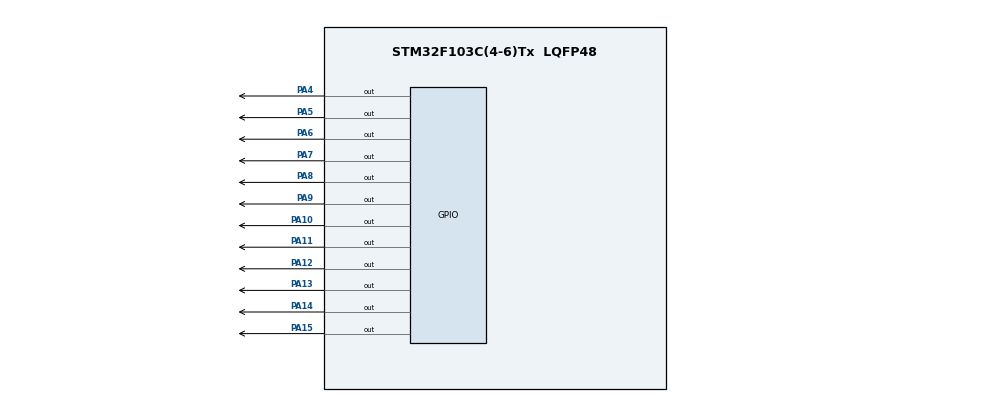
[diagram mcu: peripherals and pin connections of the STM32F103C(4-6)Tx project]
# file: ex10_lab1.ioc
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Mcu.Family=STM32F1
Mcu.Name=STM32F103C(4-6)Tx
Mcu.Package=LQFP48
NVIC.PriorityGroup=NVIC_PRIORITYGROUP_4
PA10.Signal=GPIO_Output
PA11.Signal=GPIO_Output
PA12.Signal=GPIO_Output
PA13.Signal=GPIO_Output
PA14.Signal=GPIO_Output
PA15.Signal=GPIO_Output
PA4.Signal=GPIO_Output
PA5.Signal=GPIO_Output
PA6.Signal=GPIO_Output
PA7.Signal=GPIO_Output
PA8.Signal=GPIO_Output
PA9.Signal=GPIO_Output
ProjectManager.HeapSize=0x200
ProjectManager.StackSize=0x400
ProjectManager.TargetToolchain=STM32CubeIDE
RCC.APB1Freq_Value=8000000
RCC.APB2Freq_Value=8000000
board=custom

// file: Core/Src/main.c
/* USER CODE BEGIN Header */
/**
  ******************************************************************************
  * @file           : main.c
  * @brief          : Main program body
  ******************************************************************************
  * @attention
  *
  * Copyright (c) 2025 STMicroelectronics.
  * All rights reserved.
  *
  * This software is licensed under terms that can be found in the LICENSE file
  * in the root directory of this software component.
  * If no LICENSE file comes with this software, it is provided AS-IS.
  *
  ******************************************************************************
  */
/* USER CODE END Header */
#include "main.h"

void SystemClock_Config(void);
static void MX_GPIO_Init(void);
/* USER CODE BEGIN PFP */
void clearAllClock();
void setNumberOnClock(int num);
void clearNumberOnClock(int num);
/* USER CODE END PFP */

/* USER CODE BEGIN 0 */
int sec = 0;
int min = 0;
int hour = 7;

int t_sec = 2;
int t_min = 10;
int sw_m = 0;
/* USER CODE END 0 */

int main(void)
{

  /* MCU Configuration--------------------------------------------------------*/

  /* Reset of all peripherals, Initializes the Flash interface and the Systick. */
  HAL_Init();

  /* Configure the system clock */
  SystemClock_Config();

  /* Initialize all configured peripherals */
  MX_GPIO_Init();

  /* Infinite loop */
  /* USER CODE BEGIN WHILE */
  while (1)
  {
	  if(sec >= 60){
		  sec = 0;
		  min++;
		  if(min >= 60){
			  min = 0;
			  clearNumberOnClock(hour);
			  hour++;
			  if(hour >= 11){
				  hour = 0;
			  }
		  }
	  }
	  if(t_sec <= 0){
		  sec++;
		  t_sec = 2;
	  }
	  if(sec % 5 == 0){
		  if(sec / 5 == 0) clearNumberOnClock(11);
		  else clearNumberOnClock(sec / 5 - 1);
		  setNumberOnClock(sec / 5);
	  }
	  setNumberOnClock(hour);

	  if(t_min <= 0){
		  switch(sw_m){
		  case 0:
			  setNumberOnClock(min / 5);
			  sw_m = 1;
			  break;
		  case 1:
			  clearNumberOnClock(min / 5);
			  sw_m = 0;
			  break;
		  }
		  t_min = 10;
	  }
	  t_min--;
	  t_sec--;

	  HAL_Delay(10);

    /* USER CODE END WHILE */

  }
}

void SystemClock_Config(void)
{
  RCC_OscInitTypeDef RCC_OscInitStruct = {0};
  RCC_ClkInitTypeDef RCC_ClkInitStruct = {0};

  /** Initializes the RCC Oscillators according to the specified parameters
  * in the RCC_OscInitTypeDef structure.
  */
  RCC_OscInitStruct.OscillatorType = RCC_OSCILLATORTYPE_HSI;
  RCC_OscInitStruct.HSIState = RCC_HSI_ON;
  RCC_OscInitStruct.HSICalibrationValue = RCC_HSICALIBRATION_DEFAULT;
  RCC_OscInitStruct.PLL.PLLState = RCC_PLL_NONE;
  if (HAL_RCC_OscConfig(&RCC_OscInitStruct) != HAL_OK)
  {
    Error_Handler();
  }

  /** Initializes the CPU, AHB and APB buses clocks
  */
  RCC_ClkInitStruct.ClockType = RCC_CLOCKTYPE_HCLK|RCC_CLOCKTYPE_SYSCLK
                              |RCC_CLOCKTYPE_PCLK1|RCC_CLOCKTYPE_PCLK2;
  RCC_ClkInitStruct.SYSCLKSource = RCC_SYSCLKSOURCE_HSI;
  RCC_ClkInitStruct.AHBCLKDivider = RCC_SYSCLK_DIV1;
  RCC_ClkInitStruct.APB1CLKDivider = RCC_HCLK_DIV1;
  RCC_ClkInitStruct.APB2CLKDivider = RCC_HCLK_DIV1;

  if (HAL_RCC_ClockConfig(&RCC_ClkInitStruct, FLASH_LATENCY_0) != HAL_OK)
  {
    Error_Handler();
  }
}

static void MX_GPIO_Init(void)
{
  GPIO_InitTypeDef GPIO_InitStruct = {0};

  /* GPIO Ports Clock Enable */
  __HAL_RCC_GPIOA_CLK_ENABLE();

  /*Configure GPIO pin Output Level */
  HAL_GPIO_WritePin(GPIOA, GPIO_PIN_4|GPIO_PIN_5|GPIO_PIN_6|GPIO_PIN_7
                          |GPIO_PIN_8|GPIO_PIN_9|GPIO_PIN_10|GPIO_PIN_11
                          |GPIO_PIN_12|GPIO_PIN_13|GPIO_PIN_14|GPIO_PIN_15, GPIO_PIN_RESET);

  /*Configure GPIO pins : PA4 PA5 PA6 PA7
                           PA8 PA9 PA10 PA11
                           PA12 PA13 PA14 PA15 */
  GPIO_InitStruct.Pin = GPIO_PIN_4|GPIO_PIN_5|GPIO_PIN_6|GPIO_PIN_7
                          |GPIO_PIN_8|GPIO_PIN_9|GPIO_PIN_10|GPIO_PIN_11
                          |GPIO_PIN_12|GPIO_PIN_13|GPIO_PIN_14|GPIO_PIN_15;
  GPIO_InitStruct.Mode = GPIO_MODE_OUTPUT_PP;
  GPIO_InitStruct.Pull = GPIO_NOPULL;
  GPIO_InitStruct.Speed = GPIO_SPEED_FREQ_LOW;
  HAL_GPIO_Init(GPIOA, &GPIO_InitStruct);

}

/* USER CODE BEGIN 4 */
void clearAllClock(){
	HAL_GPIO_WritePin(GPIOA, GPIO_PIN_4|GPIO_PIN_5|
			GPIO_PIN_6|GPIO_PIN_7|GPIO_PIN_8|GPIO_PIN_9|GPIO_PIN_10|
			GPIO_PIN_11|GPIO_PIN_12|GPIO_PIN_13|GPIO_PIN_14|GPIO_PIN_15, RESET);
}

void setNumberOnClock(int num){
	switch(num){
	case 0:
		HAL_GPIO_WritePin(GPIOA, GPIO_PIN_4, SET);
		break;
	case 1:
		HAL_GPIO_WritePin(GPIOA, GPIO_PIN_5, SET);
		break;
	case 2:
		HAL_GPIO_WritePin(GPIOA, GPIO_PIN_6, SET);
		break;
	case 3:
		HAL_GPIO_WritePin(GPIOA, GPIO_PIN_7, SET);
		break;
	case 4:
		HAL_GPIO_WritePin(GPIOA, GPIO_PIN_8, SET);
		break;
	case 5:
		HAL_GPIO_WritePin(GPIOA, GPIO_PIN_9, SET);
		break;
	case 6:
		HAL_GPIO_WritePin(GPIOA, GPIO_PIN_10, SET);
		break;
	case 7:
		HAL_GPIO_WritePin(GPIOA, GPIO_PIN_11, SET);
		break;
	case 8:
		HAL_GPIO_WritePin(GPIOA, GPIO_PIN_12, SET);
		break;
	case 9:
		HAL_GPIO_WritePin(GPIOA, GPIO_PIN_13, SET);
		break;
	case 10:
		HAL_GPIO_WritePin(GPIOA, GPIO_PIN_14, SET);
		break;
	case 11:
		HAL_GPIO_WritePin(GPIOA, GPIO_PIN_15, SET);
		break;
	default:
		HAL_GPIO_WritePin(GPIOA, GPIO_PIN_4|GPIO_PIN_5|
					GPIO_PIN_6|GPIO_PIN_7|GPIO_PIN_8|GPIO_PIN_9|GPIO_PIN_10|
					GPIO_PIN_11|GPIO_PIN_12|GPIO_PIN_13|GPIO_PIN_14|GPIO_PIN_15, RESET);
}

}

void clearNumberOnClock(int num){
	switch(num){
	case 0:
			HAL_GPIO_WritePin(GPIOA, GPIO_PIN_4, RESET);
			break;
		case 1:
			HAL_GPIO_WritePin(GPIOA, GPIO_PIN_5, RESET);
			break;
		case 2:
			HAL_GPIO_WritePin(GPIOA, GPIO_PIN_6, RESET);
			break;
		case 3:
			HAL_GPIO_WritePin(GPIOA, GPIO_PIN_7, RESET);
			break;
		case 4:
			HAL_GPIO_WritePin(GPIOA, GPIO_PIN_8, RESET);
			break;
		case 5:
			HAL_GPIO_WritePin(GPIOA, GPIO_PIN_9, RESET);
			break;
		case 6:
			HAL_GPIO_WritePin(GPIOA, GPIO_PIN_10, RESET);
			break;
		case 7:
			HAL_GPIO_WritePin(GPIOA, GPIO_PIN_11, RESET);
			break;
		case 8:
			HAL_GPIO_WritePin(GPIOA, GPIO_PIN_12, RESET);
			break;
		case 9:
			HAL_GPIO_WritePin(GPIOA, GPIO_PIN_13, RESET);
			break;
		case 10:
			HAL_GPIO_WritePin(GPIOA, GPIO_PIN_14, RESET);
			break;
		case 11:
			HAL_GPIO_WritePin(GPIOA, GPIO_PIN_15, RESET);
			break;
		default:
			HAL_GPIO_WritePin(GPIOA, GPIO_PIN_4|GPIO_PIN_5|
						GPIO_PIN_6|GPIO_PIN_7|GPIO_PIN_8|GPIO_PIN_9|GPIO_PIN_10|
						GPIO_PIN_11|GPIO_PIN_12|GPIO_PIN_13|GPIO_PIN_14|GPIO_PIN_15, RESET);

	}
}
/* USER CODE END 4 */

void Error_Handler(void)
{
  __disable_irq();
  while (1)
  {
  }
}
